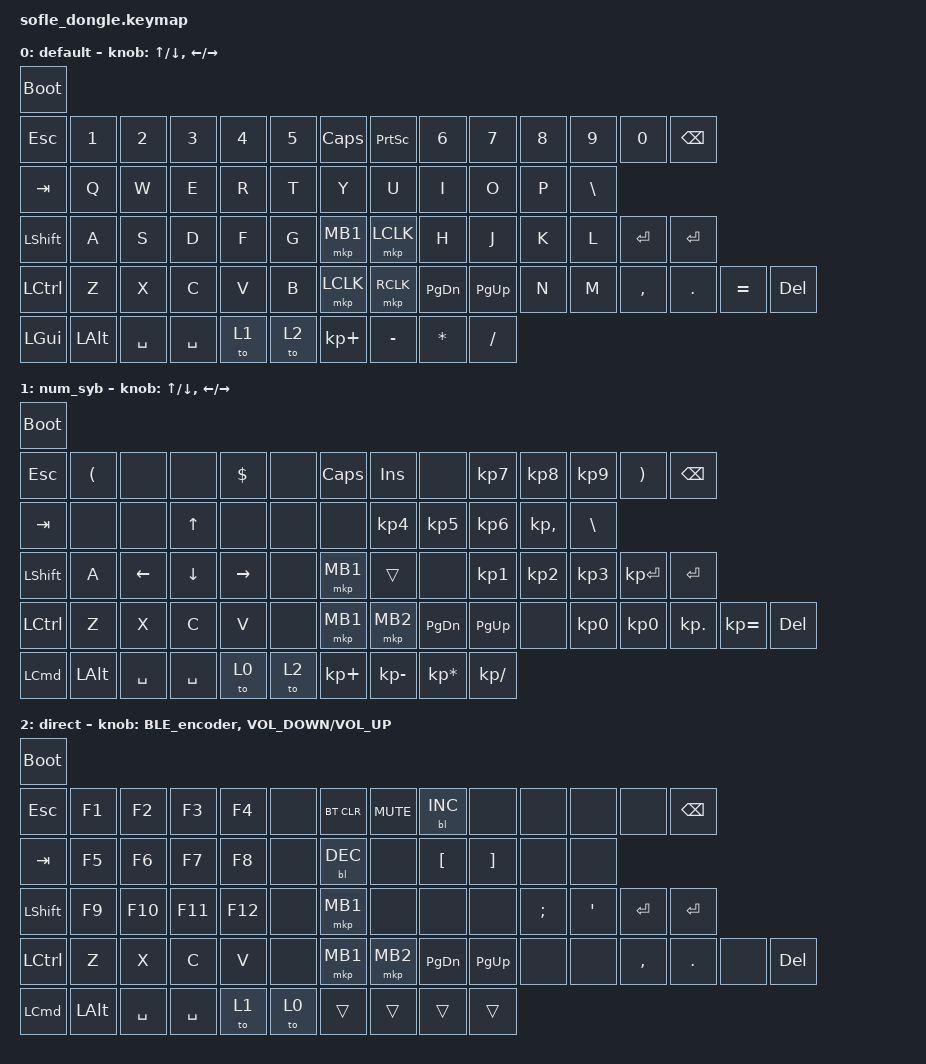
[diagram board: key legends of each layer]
/*
 * Copyright (c) 2025 ZitaoTech
 *
 * SPDX-License-Identifier: MIT
 */

#include <dt-bindings/zmk/mouse.h>
#include <behaviors.dtsi>
#include <dt-bindings/zmk/backlight.h>
#include <dt-bindings/zmk/bt.h>
#include <dt-bindings/zmk/keys.h>
#include <dt-bindings/zmk/outputs.h>
#include <dt-bindings/zmk/pointing.h>
#include <dt-bindings/zmk/rgb.h>

#define BT_FORCE_MACRO(slot) \
    bt_out##slot: bt_out##slot { \
        compatible = "zmk,behavior-macro"; \
        #binding-cells = <0>; \
        bindings = <&out OUT_BLE>, <&bt BT_SEL slot>; \
    }

/ {
    behaviors {

        td_lf_win_ctrl: tap_dance_lf_win_ctrl {
            compatible = "zmk,behavior-tap-dance";
            #binding-cells = <0>;
            tapping-term-ms = <220>;
            bindings = <&kp LEFT_WIN>, <&kp LG(LCTRL)>;
        };

        td_rt_win_ctrl: tap_dance_rt_win_ctrl {
            compatible = "zmk,behavior-tap-dance";
            #binding-cells = <0>;
            tapping-term-ms = <220>;
            bindings = <&kp RIGHT_WIN>, <&kp RG(RCTRL)>;
        };

        td_f1_f11: tap_dance_f1_f11 {
            compatible = "zmk,behavior-tap-dance";
            #binding-cells = <0>;
            tapping-term-ms = <220>;
            bindings = <&kp F1>, <&kp F11>;
        };

        td_f2_f12: tap_dance_f2_f12 {
            compatible = "zmk,behavior-tap-dance";
            #binding-cells = <0>;
            tapping-term-ms = <220>;
            bindings = <&kp F2>, <&kp F12>;
        };

        BLE_encoder: BLE_encoder {
            compatible = "zmk,behavior-sensor-rotate";
            #sensor-binding-cells = <0>;
            bindings = <&bt BT_NXT>, <&bt BT_PRV>;
        };

        ctrl_dance: ctrl_dance {
            compatible = "zmk,behavior-tap-dance";
            label = "CTRL_DANCE";
            #binding-cells = <0>;
            bindings = <&kp LEFT_CONTROL>, <&kp RIGHT_CONTROL>;

            tapping-term-ms = <220>;
        };

        fn_tap: fn_tap {
            compatible = "zmk,behavior-hold-tap";
            label = "FN_TAP";
            bindings = <&mo>, <&kp>;

            #binding-cells = <2>;
            quick-tap-ms = <220>;
            tapping-term-ms = <150>;
            flavor = "tap-preferred";
        };
    };

    macros {
        BT_FORCE_MACRO(0);
        BT_FORCE_MACRO(1);
        BT_FORCE_MACRO(2);
        BT_FORCE_MACRO(3);
        BT_FORCE_MACRO(4);

        shift_contrl_alt: shift_contrl_alt {
            compatible = "zmk,behavior-macro";
            #binding-cells = <0>;
            bindings = <&kp LEFT_SHIFT &kp LCTRL &kp LEFT_ALT>;
            label = "SHIFT_CONTRL_ALT";
        };
    };

    keymap {
        compatible = "zmk,keymap";
// -----------------------------------------------------------------------------------------------------------------------------------------------------------
// [ 矩阵索引 (Matrix Index) ]
// |    0    |
//
// |    1    |    2    |    3    |    4    |    5    |    6    |    7    |         |    8    |    9    |   10    |   11    |   12    |   13    |   14    |
// |   15    |   16    |   17    |   18    |   19    |   20    |                             |   21    |   22    |   23    |   24    |   25    |   26    |
// |   27    |   28    |   29    |   30    |   31    |   32    |   33    |         |   34    |   35    |   36    |   37    |   38    |   39    |   40    |
// |   41    |   42    |   43    |   44    |   45    |   46    | 47 | 48 |         | 49 | 50 |   51    |   52    |   53    |   54    |   55    |   56    |
//                     |   57    |   58    |   59    |   60    |   61    |         |   62    |   63    |   64    |   65    |   66    |
// -----------------------------------------------------------------------------------------------------------------------------------------------------------

// -----------------------------------------------------------------------------------------------------------------------------------------------------------
// [ Layer 0 : Default ]
// |  BOOT   | // 该按键在接收器上
//
// |   ESC   | F1/F11  | F2/F12  |   F3    |   F4    |   F5    |  MUTE   |         |   RGB   |   F6    |   F7    |   F8    |   F9    |   F10   |  BKSP   |
// |   TAB   |    Q    |    W    |    E    |    R    |    T    |                             |    Y    |    U    |    I    |    O    |    P    |    \    |
// | FN2/ENT |    A    |    S    |    D    |    F    |    G    |  MCLK   |         |  LCLK   |    H    |    J    |    K    |    L    |    ;    |    '    |
// |  LSHFT  |    Z    |    X    |    C    |    V    |    B    |LCLK|RCLK|         | BL-|BL+ |    N    |    M    |    ,    |    .    |    /    |  RSHFT  |
//                     | LF_W/C  |  LALT   |  CTL_D  | FN3/BKS | FN4/DEL |         | FN4/ENT | FN1/SPC |  CTL_D  |  LALT   | RT_W/C  |
// -----------------------------------------------------------------------------------------------------------------------------------------------------------
        default_layer {
            display-name = "default";
            bindings = <
&bootloader
&kp ESC      &kp N1    &kp N2     &kp N3     &kp N4  &kp N5  &kp CAPS     &kp PRINTSCREEN  &kp N6         &kp N7       &kp N8  &kp N9    &kp N0      &kp BACKSPACE
&kp TAB      &kp Q     &kp W      &kp E      &kp R   &kp T   &kp Y        &kp U            &kp I          &kp O        &kp P   &kp BSLH
&kp LSHFT    &kp A     &kp S      &kp D      &kp F   &kp G   &mkp MB1     &mkp LCLK        &kp H          &kp J        &kp K   &kp L     &kp RETURN  &kp RETURN
&kp LCTRL    &kp Z     &kp X      &kp C      &kp V   &kp B   &mkp LCLK    &mkp RCLK        &kp PAGE_DOWN  &kp PAGE_UP  &kp N   &kp M     &kp COMMA   &kp DOT        &kp EQUAL  &kp DEL
&kp LGUI     &kp LALT  &kp SPACE  &kp SPACE  &to 1   &to 2   &kp KP_PLUS  &kp MINUS        &kp STAR       &kp SLASH
            >;

            sensor-bindings =
                <&inc_dec_kp UP DOWN>,
                <&inc_dec_kp LEFT RIGHT>;
        };

// -----------------------------------------------------------------------------------------------------------------------------------------------------------
// [ Layer 1 : Num & Symbols ]
// |  BOOT   | // 该按键在接收器上
//
// |    `    |    !    |    @    |    #    |    $    |    %    |  trans  |         |  trans  |    +    |    7    |    8    |    9    |    ~    |    ^    |
// |    ~    |    <    |    -    |    =    |    >    |    _    |                             |    -    |    4    |    5    |    6    |    &    |    |    |
// |    ^    |    {    |    [    |    ]    |    }    |    $    |  trans  |         |  trans  |    *    |    1    |    2    |    3    |    :    |    '    |
// |  trans  |    ,    |    (    |    )    |    ;    |  none   |TRNS|TRNS|         |TRNS|TRNS|    %    |    0    |    ,    |    .    |    /    |  trans  |
//                     |  trans  |  trans  |  trans  |  trans  |  trans  |         |  trans  |  trans  |  trans  |  trans  |  trans  |
// -----------------------------------------------------------------------------------------------------------------------------------------------------------
        num_syb {
            display-name = "num_syb";
            bindings = <
&bootloader
&kp ESC      &kp LPAR  &none      &none      &kp DOLLAR  &none  &kp CAPS     &kp INSERT    &none       &kp KP_N7      &kp KP_N8     &kp KP_N9      &kp RPAR      &kp BACKSPACE
&kp TAB      &none     &none      &kp UP     &none       &none  &none        &kp KP_N4     &kp KP_N5        &kp KP_N6      &kp KP_COMMA  &kp BACKSLASH
&kp LSHFT    &kp A     &kp LEFT   &kp DOWN   &kp RIGHT   &none  &mkp MB1     &trans        &none            &kp KP_N1      &kp KP_N2     &kp KP_N3      &kp KP_ENTER  &kp RETURN
&kp LCTRL    &kp Z     &kp X      &kp C      &kp V       &none  &mkp MB1     &mkp MB2      &kp PAGE_DOWN    &kp PG_UP      &none         &kp KP_N0      &kp KP_N0     &kp KP_DOT     &kp KP_EQUAL  &kp DELETE
&kp LCMD     &kp LALT  &kp SPACE  &kp SPACE  &to 0       &to 2  &kp KP_PLUS  &kp KP_MINUS  &kp KP_ASTERISK  &kp KP_DIVIDE
            >;

            sensor-bindings =
                <&inc_dec_kp UP DOWN>,
                <&inc_dec_kp LEFT RIGHT>;
        };

// -----------------------------------------------------------------------------------------------------------------------------------------------------------
// [ Layer 2 : Direction & Media ]
// |  BOOT   | // 该按键在接收器上
//
// |   USB   |   BT0   |   BT1   |   BT2   |   BT3   |   BT4   |   PWR   |         |   SLP   |  none   |  none   |  none   |  none   |  none   | BT_CLR  |
// |  none   |  HOME   |    ↑    |   END   |  none   |  none   |                             |  none   |  none   |  none   |  none   |  none   |  none   |
// |  none   |    ←    |    ↓    |    →    |  none   |  none   |  none   |         |  none   |  LCLK   |  RCLK   |  none   |  none   |  none   |  none   |
// |  trans  |  PGUP   |   INS   |  PGDN   |  none   |  none   |NONE|NONE|         |NONE|NONE|  none   |  none   |  none   |  none   |  none   |  none   |
//                     |  trans  |  trans  |  trans  |  trans  |  trans  |         |  trans  |  trans  |  trans  |  trans  |  trans  |
// -----------------------------------------------------------------------------------------------------------------------------------------------------------
        direction {
            display-name = "direct";
            bindings = <
&bootloader
&kp ESC      &kp F1    &kp F2     &kp F3     &kp F4   &none  &bt BT_CLR  &kp K_MUTE  &bl BL_INC     &none        &none     &none     &none       &kp BACKSPACE
&kp TAB      &kp F5    &kp F6     &kp F7     &kp F8   &none  &bl BL_DEC  &none       &kp LBKT       &kp RBKT     &none     &none
&kp LSHFT    &kp F9    &kp F10    &kp F11    &kp F12  &none  &mkp MB1    &none       &none          &none        &kp SEMI  &kp APOS  &kp RETURN  &kp RETURN
&kp LCTRL    &kp Z     &kp X      &kp C      &kp V    &none  &mkp MB1    &mkp MB2    &kp PAGE_DOWN  &kp PAGE_UP  &none     &none     &kp COMMA   &kp DOT        &none  &kp DEL
&kp LCMD     &kp LALT  &kp SPACE  &kp SPACE  &to 1    &to 0  &trans      &trans      &trans         &trans
            >;

            sensor-bindings =
                <&BLE_encoder>,
                <&inc_dec_kp C_VOLUME_DOWN C_VOLUME_UP>;
        };
    };
};
